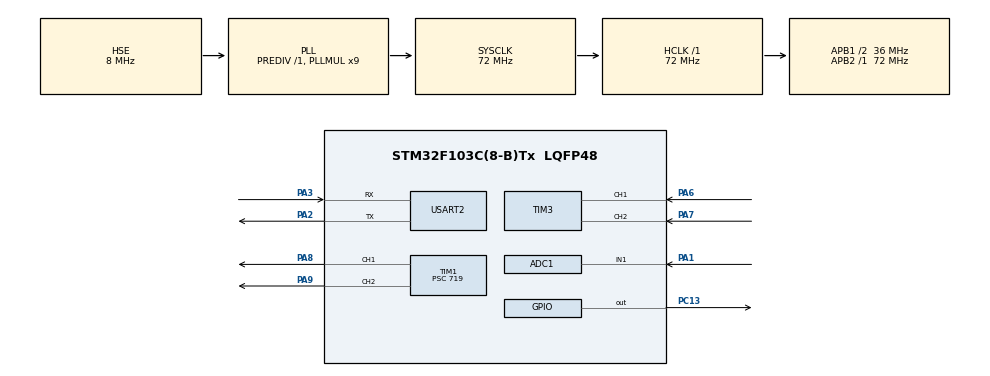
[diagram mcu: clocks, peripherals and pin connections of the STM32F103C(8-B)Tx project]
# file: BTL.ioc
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ADC1.Channel-1\#ChannelRegularConversion=ADC_CHANNEL_1
ADC1.NbrOfConversionFlag=1
ADC1.Rank-1\#ChannelRegularConversion=1
ADC1.SamplingTime-1\#ChannelRegularConversion=ADC_SAMPLETIME_41CYCLES_5
ADC1.master=1
Mcu.Family=STM32F1
Mcu.Name=STM32F103C(8-B)Tx
Mcu.Package=LQFP48
NVIC.ADC1_2_IRQn=true\:2\:0\:true\:false\:true\:true\:true\:true
NVIC.PriorityGroup=NVIC_PRIORITYGROUP_4
NVIC.TIM2_IRQn=true\:0\:0\:false\:false\:true\:true\:true\:true
NVIC.USART2_IRQn=true\:1\:0\:true\:false\:true\:true\:true\:true
PA0-WKUP.Mode=SYS_WakeUp0
PA0-WKUP.Signal=SYS_WKUP
PA1.Signal=ADCx_IN1
PA13.Mode=Serial_Wire
PA13.Signal=SYS_JTMS-SWDIO
PA14.Mode=Serial_Wire
PA14.Signal=SYS_JTCK-SWCLK
PA2.Mode=Asynchronous
PA2.Signal=USART2_TX
PA3.Mode=Asynchronous
PA3.Signal=USART2_RX
PA6.Signal=S_TIM3_CH1
PA7.Signal=S_TIM3_CH2
PA8.Signal=S_TIM1_CH1
PA9.Signal=S_TIM1_CH2
PC13-TAMPER-RTC.Signal=GPIO_Output
PD0-OSC_IN.Mode=HSE-External-Oscillator
PD0-OSC_IN.Signal=RCC_OSC_IN
PD1-OSC_OUT.Mode=HSE-External-Oscillator
PD1-OSC_OUT.Signal=RCC_OSC_OUT
ProjectManager.HeapSize=0x200
ProjectManager.StackSize=0x400
ProjectManager.TargetToolchain=MDK-ARM V5
RCC.ADCPresc=RCC_ADCPCLK2_DIV6
RCC.AHBFreq_Value=72000000
RCC.APB1CLKDivider=RCC_HCLK_DIV2
RCC.APB1Freq_Value=36000000
RCC.APB1TimFreq_Value=72000000
RCC.APB2Freq_Value=72000000
RCC.APB2TimFreq_Value=72000000
RCC.HCLKFreq_Value=72000000
RCC.PLLMUL=RCC_PLL_MUL9
RCC.PLLSourceVirtual=RCC_PLLSOURCE_HSE
RCC.SYSCLKFreq_VALUE=72000000
RCC.SYSCLKSource=RCC_SYSCLKSOURCE_PLLCLK
RCC.USBFreq_Value=72000000
SH.ADCx_IN1.0=ADC1_IN1,IN1
SH.S_TIM1_CH1.0=TIM1_CH1,PWM Generation1 CH1
SH.S_TIM1_CH2.0=TIM1_CH2,PWM Generation2 CH2
SH.S_TIM3_CH1.0=TIM3_CH1,Encoder_Interface
SH.S_TIM3_CH2.0=TIM3_CH2,Encoder_Interface
TIM1.Channel-PWM\ Generation1\ CH1=TIM_CHANNEL_1
TIM1.Channel-PWM\ Generation2\ CH2=TIM_CHANNEL_2
TIM1.OC1Preload_PWM=ENABLE
TIM1.Period=99
TIM1.Prescaler=719
TIM1.Pulse-PWM\ Generation1\ CH1=0
TIM2.Period=999
TIM2.Prescaler=719
TIM3.AutoReloadPreload=TIM_AUTORELOAD_PRELOAD_ENABLE
TIM3.EncoderMode=TIM_ENCODERMODE_TI12
TIM3.IC1Filter=10
USART2.VirtualMode=VM_ASYNC
VP_TIM1_VS_ClockSourceINT.Mode=Internal
VP_TIM2_VS_ClockSourceINT.Mode=Internal
board=custom

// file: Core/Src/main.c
/* USER CODE BEGIN Header */
/**
  ******************************************************************************
  * @file           : main.c
  * @brief          : Main program body
  ******************************************************************************
  * @attention
  *
  * Copyright (c) 2023 STMicroelectronics.
  * All rights reserved.
  *
  * This software is licensed under terms that can be found in the LICENSE file
  * in the root directory of this software component.
  * If no LICENSE file comes with this software, it is provided AS-IS.
  *
  ******************************************************************************
  */
/* USER CODE END Header */
#include "main.h"

/* USER CODE BEGIN Includes */
uint8_t Rxbuff[57], buff[8];
uint8_t Txbuff[11];
uint16_t ADC_Val;
float Idc;
float Kps, Kis, Kds, Kpi, Kii, Kdi, Iref = 1.5;
float setpoint;
uint8_t enable = 0, ramp_enable = 0;
uint8_t temp[11];
float speed, pwm;
#define T 0.01
#define Idm 1.5
#define Round_to_pulse 1900 // 1900 xung/v
/* USER CODE END Includes */

ADC_HandleTypeDef hadc1;

TIM_HandleTypeDef htim1;
TIM_HandleTypeDef htim2;
TIM_HandleTypeDef htim3;

UART_HandleTypeDef huart2;

void SystemClock_Config(void);
static void MX_GPIO_Init(void);
static void MX_ADC1_Init(void);
static void MX_TIM1_Init(void);
static void MX_TIM2_Init(void);
static void MX_TIM3_Init(void);
static void MX_USART2_UART_Init(void);

//-------------------------- UART2 interupt------------------------------------/
// DONE
float ASCII2float(uint8_t *data_recv, int n)
{
	// Example buff = {'4','5','.','7','8','0','0','0'}
	int nega = 0, i = 0, comma = 0, j = 0;
	float inter = 0, frac = 0;
	for(i=0;i<n;i++)
	{
		buff[i] = data_recv[i];
	}
	//if (buff[0] == '-') nega = 1;
	i=0;
	// Read abs of buff
	do
	{
		if (buff[i+nega] == '-')
		{
			nega = 1;
		}
		if(buff[i+nega] == '.')
		{
			comma = 1;
			break;
		}
		// inter = 45, i = 0,1,2
		inter = inter*10 + (buff[i+nega] - 0x30);
		i++;
	} while(i+nega<n);
	if(comma)
	{
		// j = 7,6,5,4,3
		for(j = n-1;j>i+nega;j--)
		{
			frac = frac + buff[j] - 0x30;
			frac = frac/10;
		}
	}
	if(nega) return -(inter+frac);
	else return (inter+frac);
}
//DONE
void HAL_UART_RxCpltCallback(UART_HandleTypeDef *huart)
{
  /* Prevent unused argument(s) compilation warning */
  UNUSED(huart);
	if(huart->Instance == USART2)
	{
		//HAL_UART_Transmit(&huart2, Txbuff, 20, 200);
		// Run callback from GUI
		// frame truyen: Command(1 byte) - setpoint(8 bytes) - Kps(8 bytes) - Kis(8 bytes) - Kds(8 bytes) - Kpi(8 bytes) - Kii(8 bytes) - Kdi(8 bytes)
		int n = 8;
		if(Rxbuff[0] == 'R') enable = 1;
		if(Rxbuff[0] == 'S') enable = 0;
		if(Rxbuff[0] == 'V')
		{
			enable = 1;
			ramp_enable = 1;
		}
		if(Rxbuff[0] == 'P')
		{
			setpoint = ASCII2float(&Rxbuff[1], n)*Round_to_pulse/60;
			Kps = ASCII2float(&Rxbuff[n + 1], n);
			Kis = ASCII2float(&Rxbuff[2*n + 1], n);
			Kds = ASCII2float(&Rxbuff[3*n + 1], n);
			Kpi = ASCII2float(&Rxbuff[4*n + 1], n);
			Kii = ASCII2float(&Rxbuff[5*n + 1], n);
			Kdi = ASCII2float(&Rxbuff[6*n + 1], n);
		}
	  HAL_UART_Receive_IT(&huart2, Rxbuff, 7*n+1);
	}
  /* NOTE: This function should not be modified, when the callback is needed,
           the HAL_UART_RxCpltCallback could be implemented in the user file
   */
}
//---------------------ADC1 interupt-----------------------------------------/
// DONE
void HAL_ADC_ConvCpltCallback(ADC_HandleTypeDef* hadc)
{
  /* Prevent unused argument(s) compilation warning */
  UNUSED(hadc);
	if(hadc->Instance == ADC1)
	{
		ADC_Val = HAL_ADC_GetValue(&hadc1);
		Idc = (float) (ADC_Val*3.3/4095 - 2.51)*7;
	}
  /* NOTE : This function should not be modified. When the callback is needed,
            function HAL_ADC_ConvCpltCallback must be implemented in the user file.
   */
}
// DONE
void send_data(float data)
{
	uint8_t i = 0;
	// Txbuff[1] is sign of data
	if(data < 0)
	{
		Txbuff[1] = '-';
		data = -data;
	}
	else Txbuff[1] = '+';
	// Send abs of data. Example data = 123.45
	// decimal = 123
	int decimal = (int) data;
	// frac = 45
	float frac = data - (int) data;
	int inter = 2;
	do
	{
		// Temp = {'3','2','1'}, inter = 2,3,4,5
		temp[inter] = decimal%10 + 0x30;
		inter++;
		decimal = decimal/10;
	} while(decimal!= 0 && inter<=8);
	// Inter = 5
	// Txbuff = {'type','sign','1','2','3'}
	for(i = 2; i < inter; i++)
	{
		Txbuff[i] = temp[inter - i + 1];
	}
	// Txbuff = {'type','sign','1','2','3','.'}, inter = 6
	Txbuff[inter] = '.';
	inter++;
	// inter = 6,7,8, Txbuff = {'type','sign','1','2','3','.','4','5','0','\r','\n'}
	while(inter <= 8)
	{
		Txbuff[inter] = ((int) (10*frac))%10 + 0x30;
		frac = frac * 10;
		inter++;
	}
	Txbuff[9] = '\r';
	Txbuff[10] = '\n';
	HAL_UART_Transmit(&huart2, Txbuff, 11, 1);
}
// DONE
void send_current(void)
{
	Txbuff[0] = 'I';
	send_data(Idc);
}
void send_set_speed(float set_speed)
{
	Txbuff[0] = 'V';
	send_data(set_speed);
}
// DONE
void send_pwm(void)
{
	Txbuff[0] = 'u';
	send_data(pwm * 100);
}
// DONE
void send_speed(void)
{
	Txbuff[0] = 'S';
	send_data((speed*60)/Round_to_pulse);
}
// DONE
void send_Iref(void)
{
	Txbuff[0] = 'R';
	send_data(Iref);
}
// DONE
float low_filter_speed(float respone)
{
	static float pre_respone = 0, pre_out = 0;
	float out;
	out = 0.7*pre_out + 0.3*pre_respone;
	pre_respone = respone;
	pre_out = out;
	return out;
}
// DONE
float low_filter_current(float respone)
{
	static float pre_respone = 0, pre_out = 0;
	float out;
	out = 0.8*pre_out + 0.2*pre_respone;
	pre_respone = respone;
	pre_out = out;
	return out;
}
// DONE
// Note: Noise of current, so don't use inner loop
void PID_current(void)
{
//	float ek, uk;
//	static float uk_1 = 0, ek_1 = 0, ek_2 = 0;
//	Idc = low_filter_current(Idc);
//	ek = Iref - Idc;
//	uk = uk_1 + Kpi*(ek - ek_1) + Kii*T*0.5*(ek + ek_1) + Kdi*(ek - 2*ek_1 + ek_2)/T;
//	uk_1 = uk;
//	ek_2 = ek_1;
//	ek_1 = ek;
//	// output duration
//	if(uk < -1)
//	{
//		uk = -1;
//	}
//	if(uk > 1)
//	{
//		uk = 1;
//	}
//	// Convert uk to pwm
//	pwm = 0.5*uk + 0.5 +0.01;
}
// DONE
// One loop control speed
void PID_speed(void)
{
	float ek;
	static float uk_1 = 0, ek_1 = 0, ek_2 = 0;
	// read speed from encoder timer 3
	speed = ((int16_t)(TIM3->CNT))/T; // pulse/s
	// pass it to low filter
	speed = low_filter_speed(speed);
	// clear counter of timer 3
	TIM3->CNT = 0;
  ek = setpoint - speed;
	pwm = uk_1 + Kps*(ek - ek_1) + Kis*T*0.5*(ek + ek_1) + Kds*(ek - 2*ek_1 + ek_2)/T;
	uk_1 = pwm;
	ek_2 = ek_1;
	ek_1 = ek;
	// pwm saturation
	if (pwm > 1) pwm = 1;
	else if(pwm < -1) pwm = -1;
	pwm = 0.48*pwm + 0.5;
}
void send_GUI(void)
{
	send_speed();
	//send_Iref();
	//send_current();
	send_pwm();
}
//------------------------- T sample interupt-------------------------------/
// DONE
void HAL_TIM_PeriodElapsedCallback(TIM_HandleTypeDef *htim)
{
  /* Prevent unused argument(s) compilation warning */
  UNUSED(htim);
	static int count = 0;
	static float timer_ramp = 0;
	float set_speed = 0;
	count++;
	if (count == 100)
	{
		count = 0;
		HAL_GPIO_TogglePin(GPIOC, GPIO_PIN_13);
	}
	if(enable)
	{
		if(ramp_enable == 1)
		{
			timer_ramp = timer_ramp + 0.01;
			if(timer_ramp <= 1)
			{
				set_speed = 100*timer_ramp;
				setpoint = (set_speed * 1900)/60;
				send_set_speed(set_speed);
			}
			else if(timer_ramp > 2 && timer_ramp <= 3)
			{
				set_speed = 100+80*(timer_ramp-2);
				setpoint = (set_speed * 1900)/60;
				send_set_speed(set_speed);
			}
			else if(timer_ramp > 4 && timer_ramp <= 5)
			{
				set_speed = 180-90*(timer_ramp-4);
				setpoint = (set_speed * 1900)/60;
				send_set_speed(set_speed);
			}
			else if(timer_ramp > 6 && timer_ramp <= 7)
			{
				set_speed = 90-90*(timer_ramp-6);
				setpoint = (set_speed * 1900)/60;
				send_set_speed(set_speed);
			}
			else if(timer_ramp > 8 && timer_ramp <= 9)
			{
				set_speed = -90*(timer_ramp-8);
				setpoint = (set_speed * 1900)/60;
				send_set_speed(set_speed);
			}
			else if(timer_ramp > 10 && timer_ramp <= 11)
			{
				set_speed = -90-90*(timer_ramp-10);
				setpoint = (set_speed * 1900)/60;
				send_set_speed(set_speed);
			}
			else if(timer_ramp > 12 && timer_ramp <= 13)
			{
				set_speed = -180+80*(timer_ramp-12);
				setpoint = (set_speed * 1900)/60;
				send_set_speed(set_speed);
			}
						else if(timer_ramp > 14 && timer_ramp <= 15)
			{
				set_speed = -100+100*(timer_ramp-14);
				setpoint = (set_speed * 1900)/60;
				send_set_speed(set_speed);
			}
			else if(timer_ramp >= 16)
			{
				enable = 0;
				ramp_enable = 0;
				timer_ramp = 0;
			}
		}
	//HAL_ADC_Start_IT(&hadc1);
	PID_speed();
	//PID_current();
	TIM1->CCR2 = (int)(TIM1->ARR * pwm);
	if(count % 5 == 0)
		{
			send_GUI();
		}
	}
	else
	{
		TIM1->CCR2 = (int)(TIM1->ARR * 0.5);

//		//----- DEBUG----///
//		HAL_ADC_Start_IT(&hadc1);
//		TIM1->CCR2 = (int)(TIM1->ARR * 1);
//		// read speed from encoder timer 3
		//speed = ((int16_t)(TIM3->CNT))/T; // pulse/s
		//TIM3->CNT = 0;
//		// pass it to low filter
//		speed = low_filter_speed(speed);
//		Idc = low_filter_current(Idc);
		//send_GUI();
	}
  /* NOTE : This function should not be modified, when the callback is needed,
            the HAL_TIM_PeriodElapsedCallback could be implemented in the user file
   */
}
int main(void)
{

  /* MCU Configuration--------------------------------------------------------*/

  /* Reset of all peripherals, Initializes the Flash interface and the Systick. */
  HAL_Init();

  /* Configure the system clock */
  SystemClock_Config();

  /* Initialize all configured peripherals */
  MX_GPIO_Init();
  MX_ADC1_Init();
  MX_TIM1_Init();
  MX_TIM2_Init();
  MX_TIM3_Init();
  MX_USART2_UART_Init();
  /* USER CODE BEGIN 2 */
	// Enable PWM
	HAL_TIM_PWM_Start(&htim1, TIM_CHANNEL_2);
	// Enable T sample
	HAL_TIM_Base_Start_IT(&htim2);
	// Enable encoder mode
	HAL_TIM_Encoder_Start(&htim3,TIM_CHANNEL_ALL);
	// Enable Rx_UART 2 interupt
	HAL_UART_Receive_IT(&huart2, Rxbuff, 7*8+1);
  /* USER CODE END 2 */
	//---------------- DEBUG---------------//
//	TIM1->CCR2 = 999;
//	HAL_Delay(3000);
//	HAL_ADC_Start_IT(&hadc1);
//	speed = (signed)(TIM3->CNT);
//	TIM1->CCR2 = 502;
  /* Infinite loop */
  while (1)
  {

  }
}

void SystemClock_Config(void)
{
  RCC_OscInitTypeDef RCC_OscInitStruct = {0};
  RCC_ClkInitTypeDef RCC_ClkInitStruct = {0};
  RCC_PeriphCLKInitTypeDef PeriphClkInit = {0};

  /** Initializes the RCC Oscillators according to the specified parameters
  * in the RCC_OscInitTypeDef structure.
  */
  RCC_OscInitStruct.OscillatorType = RCC_OSCILLATORTYPE_HSE;
  RCC_OscInitStruct.HSEState = RCC_HSE_ON;
  RCC_OscInitStruct.HSEPredivValue = RCC_HSE_PREDIV_DIV1;
  RCC_OscInitStruct.HSIState = RCC_HSI_ON;
  RCC_OscInitStruct.PLL.PLLState = RCC_PLL_ON;
  RCC_OscInitStruct.PLL.PLLSource = RCC_PLLSOURCE_HSE;
  RCC_OscInitStruct.PLL.PLLMUL = RCC_PLL_MUL9;
  if (HAL_RCC_OscConfig(&RCC_OscInitStruct) != HAL_OK)
  {
    Error_Handler();
  }

  /** Initializes the CPU, AHB and APB buses clocks
  */
  RCC_ClkInitStruct.ClockType = RCC_CLOCKTYPE_HCLK|RCC_CLOCKTYPE_SYSCLK
                              |RCC_CLOCKTYPE_PCLK1|RCC_CLOCKTYPE_PCLK2;
  RCC_ClkInitStruct.SYSCLKSource = RCC_SYSCLKSOURCE_PLLCLK;
  RCC_ClkInitStruct.AHBCLKDivider = RCC_SYSCLK_DIV1;
  RCC_ClkInitStruct.APB1CLKDivider = RCC_HCLK_DIV2;
  RCC_ClkInitStruct.APB2CLKDivider = RCC_HCLK_DIV1;

  if (HAL_RCC_ClockConfig(&RCC_ClkInitStruct, FLASH_LATENCY_2) != HAL_OK)
  {
    Error_Handler();
  }
  PeriphClkInit.PeriphClockSelection = RCC_PERIPHCLK_ADC;
  PeriphClkInit.AdcClockSelection = RCC_ADCPCLK2_DIV6;
  if (HAL_RCCEx_PeriphCLKConfig(&PeriphClkInit) != HAL_OK)
  {
    Error_Handler();
  }
}

static void MX_ADC1_Init(void)
{

  ADC_ChannelConfTypeDef sConfig = {0};

  /** Common config
  */
  hadc1.Instance = ADC1;
  hadc1.Init.ScanConvMode = ADC_SCAN_DISABLE;
  hadc1.Init.ContinuousConvMode = DISABLE;
  hadc1.Init.DiscontinuousConvMode = DISABLE;
  hadc1.Init.ExternalTrigConv = ADC_SOFTWARE_START;
  hadc1.Init.DataAlign = ADC_DATAALIGN_RIGHT;
  hadc1.Init.NbrOfConversion = 1;
  if (HAL_ADC_Init(&hadc1) != HAL_OK)
  {
    Error_Handler();
  }

  /** Configure Regular Channel
  */
  sConfig.Channel = ADC_CHANNEL_1;
  sConfig.Rank = ADC_REGULAR_RANK_1;
  sConfig.SamplingTime = ADC_SAMPLETIME_41CYCLES_5;
  if (HAL_ADC_ConfigChannel(&hadc1, &sConfig) != HAL_OK)
  {
    Error_Handler();
  }

}

static void MX_TIM1_Init(void)
{

  TIM_ClockConfigTypeDef sClockSourceConfig = {0};
  TIM_MasterConfigTypeDef sMasterConfig = {0};
  TIM_OC_InitTypeDef sConfigOC = {0};
  TIM_BreakDeadTimeConfigTypeDef sBreakDeadTimeConfig = {0};

  htim1.Instance = TIM1;
  htim1.Init.Prescaler = 71;
  htim1.Init.CounterMode = TIM_COUNTERMODE_UP;
  htim1.Init.Period = 999;
  htim1.Init.ClockDivision = TIM_CLOCKDIVISION_DIV1;
  htim1.Init.RepetitionCounter = 0;
  htim1.Init.AutoReloadPreload = TIM_AUTORELOAD_PRELOAD_DISABLE;
  if (HAL_TIM_Base_Init(&htim1) != HAL_OK)
  {
    Error_Handler();
  }
  sClockSourceConfig.ClockSource = TIM_CLOCKSOURCE_INTERNAL;
  if (HAL_TIM_ConfigClockSource(&htim1, &sClockSourceConfig) != HAL_OK)
  {
    Error_Handler();
  }
  if (HAL_TIM_PWM_Init(&htim1) != HAL_OK)
  {
    Error_Handler();
  }
  sMasterConfig.MasterOutputTrigger = TIM_TRGO_RESET;
  sMasterConfig.MasterSlaveMode = TIM_MASTERSLAVEMODE_DISABLE;
  if (HAL_TIMEx_MasterConfigSynchronization(&htim1, &sMasterConfig) != HAL_OK)
  {
    Error_Handler();
  }
  sConfigOC.OCMode = TIM_OCMODE_PWM1;
  sConfigOC.Pulse = 0;
  sConfigOC.OCPolarity = TIM_OCPOLARITY_HIGH;
  sConfigOC.OCNPolarity = TIM_OCNPOLARITY_HIGH;
  sConfigOC.OCFastMode = TIM_OCFAST_DISABLE;
  sConfigOC.OCIdleState = TIM_OCIDLESTATE_RESET;
  sConfigOC.OCNIdleState = TIM_OCNIDLESTATE_RESET;
  if (HAL_TIM_PWM_ConfigChannel(&htim1, &sConfigOC, TIM_CHANNEL_1) != HAL_OK)
  {
    Error_Handler();
  }
  if (HAL_TIM_PWM_ConfigChannel(&htim1, &sConfigOC, TIM_CHANNEL_2) != HAL_OK)
  {
    Error_Handler();
  }
  sBreakDeadTimeConfig.OffStateRunMode = TIM_OSSR_DISABLE;
  sBreakDeadTimeConfig.OffStateIDLEMode = TIM_OSSI_DISABLE;
  sBreakDeadTimeConfig.LockLevel = TIM_LOCKLEVEL_OFF;
  sBreakDeadTimeConfig.DeadTime = 0;
  sBreakDeadTimeConfig.BreakState = TIM_BREAK_DISABLE;
  sBreakDeadTimeConfig.BreakPolarity = TIM_BREAKPOLARITY_HIGH;
  sBreakDeadTimeConfig.AutomaticOutput = TIM_AUTOMATICOUTPUT_DISABLE;
  if (HAL_TIMEx_ConfigBreakDeadTime(&htim1, &sBreakDeadTimeConfig) != HAL_OK)
  {
    Error_Handler();
  }
  HAL_TIM_MspPostInit(&htim1);

}

static void MX_TIM2_Init(void)
{

  TIM_ClockConfigTypeDef sClockSourceConfig = {0};
  TIM_MasterConfigTypeDef sMasterConfig = {0};

  htim2.Instance = TIM2;
  htim2.Init.Prescaler = 719;
  htim2.Init.CounterMode = TIM_COUNTERMODE_UP;
  htim2.Init.Period = 999;
  htim2.Init.ClockDivision = TIM_CLOCKDIVISION_DIV1;
  htim2.Init.AutoReloadPreload = TIM_AUTORELOAD_PRELOAD_DISABLE;
  if (HAL_TIM_Base_Init(&htim2) != HAL_OK)
  {
    Error_Handler();
  }
  sClockSourceConfig.ClockSource = TIM_CLOCKSOURCE_INTERNAL;
  if (HAL_TIM_ConfigClockSource(&htim2, &sClockSourceConfig) != HAL_OK)
  {
    Error_Handler();
  }
  sMasterConfig.MasterOutputTrigger = TIM_TRGO_RESET;
  sMasterConfig.MasterSlaveMode = TIM_MASTERSLAVEMODE_DISABLE;
  if (HAL_TIMEx_MasterConfigSynchronization(&htim2, &sMasterConfig) != HAL_OK)
  {
    Error_Handler();
  }

}

static void MX_TIM3_Init(void)
{

  TIM_Encoder_InitTypeDef sConfig = {0};
  TIM_MasterConfigTypeDef sMasterConfig = {0};

  htim3.Instance = TIM3;
  htim3.Init.Prescaler = 0;
  htim3.Init.CounterMode = TIM_COUNTERMODE_UP;
  htim3.Init.Period = 65535;
  htim3.Init.ClockDivision = TIM_CLOCKDIVISION_DIV1;
  htim3.Init.AutoReloadPreload = TIM_AUTORELOAD_PRELOAD_ENABLE;
  sConfig.EncoderMode = TIM_ENCODERMODE_TI12;
  sConfig.IC1Polarity = TIM_ICPOLARITY_RISING;
  sConfig.IC1Selection = TIM_ICSELECTION_DIRECTTI;
  sConfig.IC1Prescaler = TIM_ICPSC_DIV1;
  sConfig.IC1Filter = 10;
  sConfig.IC2Polarity = TIM_ICPOLARITY_RISING;
  sConfig.IC2Selection = TIM_ICSELECTION_DIRECTTI;
  sConfig.IC2Prescaler = TIM_ICPSC_DIV1;
  sConfig.IC2Filter = 0;
  if (HAL_TIM_Encoder_Init(&htim3, &sConfig) != HAL_OK)
  {
    Error_Handler();
  }
  sMasterConfig.MasterOutputTrigger = TIM_TRGO_RESET;
  sMasterConfig.MasterSlaveMode = TIM_MASTERSLAVEMODE_DISABLE;
  if (HAL_TIMEx_MasterConfigSynchronization(&htim3, &sMasterConfig) != HAL_OK)
  {
    Error_Handler();
  }

}

static void MX_USART2_UART_Init(void)
{

  huart2.Instance = USART2;
  huart2.Init.BaudRate = 115200;
  huart2.Init.WordLength = UART_WORDLENGTH_8B;
  huart2.Init.StopBits = UART_STOPBITS_1;
  huart2.Init.Parity = UART_PARITY_NONE;
  huart2.Init.Mode = UART_MODE_TX_RX;
  huart2.Init.HwFlowCtl = UART_HWCONTROL_NONE;
  huart2.Init.OverSampling = UART_OVERSAMPLING_16;
  if (HAL_UART_Init(&huart2) != HAL_OK)
  {
    Error_Handler();
  }

}

static void MX_GPIO_Init(void)
{
  GPIO_InitTypeDef GPIO_InitStruct = {0};

  /* GPIO Ports Clock Enable */
  __HAL_RCC_GPIOC_CLK_ENABLE();
  __HAL_RCC_GPIOD_CLK_ENABLE();
  __HAL_RCC_GPIOA_CLK_ENABLE();

  /*Configure GPIO pin Output Level */
  HAL_GPIO_WritePin(GPIOC, GPIO_PIN_13, GPIO_PIN_RESET);

  /*Configure GPIO pin : PC13 */
  GPIO_InitStruct.Pin = GPIO_PIN_13;
  GPIO_InitStruct.Mode = GPIO_MODE_OUTPUT_PP;
  GPIO_InitStruct.Pull = GPIO_NOPULL;
  GPIO_InitStruct.Speed = GPIO_SPEED_FREQ_LOW;
  HAL_GPIO_Init(GPIOC, &GPIO_InitStruct);

}

void Error_Handler(void)
{
  __disable_irq();
  while (1)
  {
  }
}
